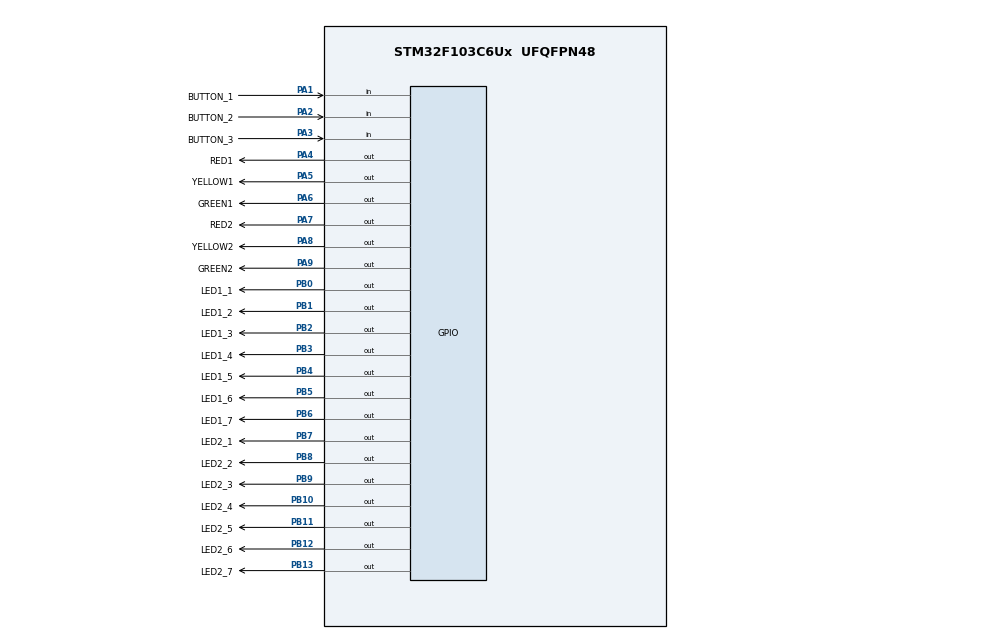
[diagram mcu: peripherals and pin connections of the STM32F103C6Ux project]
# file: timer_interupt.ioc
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Mcu.Family=STM32F1
Mcu.Name=STM32F103C6Ux
Mcu.Package=UFQFPN48
NVIC.PriorityGroup=NVIC_PRIORITYGROUP_4
NVIC.TIM2_IRQn=true\:0\:0\:false\:false\:true\:true\:true
PA1.GPIO_Label=BUTTON_1
PA1.GPIO_PuPd=GPIO_PULLUP
PA1.Signal=GPIO_Input
PA2.GPIO_Label=BUTTON_2
PA2.GPIO_PuPd=GPIO_PULLUP
PA2.Signal=GPIO_Input
PA3.GPIO_Label=BUTTON_3
PA3.GPIO_PuPd=GPIO_PULLUP
PA3.Signal=GPIO_Input
PA4.GPIO_Label=RED1
PA4.Signal=GPIO_Output
PA5.GPIO_Label=YELLOW1
PA5.Signal=GPIO_Output
PA6.GPIO_Label=GREEN1
PA6.Signal=GPIO_Output
PA7.GPIO_Label=RED2
PA7.Signal=GPIO_Output
PA8.GPIO_Label=YELLOW2
PA8.Signal=GPIO_Output
PA9.GPIO_Label=GREEN2
PA9.Signal=GPIO_Output
PB0.GPIO_Label=LED1_1
PB0.Signal=GPIO_Output
PB1.GPIO_Label=LED1_2
PB1.Signal=GPIO_Output
PB10.GPIO_Label=LED2_4
PB10.Signal=GPIO_Output
PB11.GPIO_Label=LED2_5
PB11.Signal=GPIO_Output
PB12.GPIO_Label=LED2_6
PB12.Signal=GPIO_Output
PB13.GPIO_Label=LED2_7
PB13.Signal=GPIO_Output
PB2.GPIO_Label=LED1_3
PB2.Signal=GPIO_Output
PB3.GPIO_Label=LED1_4
PB3.Signal=GPIO_Output
PB4.GPIO_Label=LED1_5
PB4.Signal=GPIO_Output
PB5.GPIO_Label=LED1_6
PB5.Signal=GPIO_Output
PB6.GPIO_Label=LED1_7
PB6.Signal=GPIO_Output
PB7.GPIO_Label=LED2_1
PB7.Signal=GPIO_Output
PB8.GPIO_Label=LED2_2
PB8.Signal=GPIO_Output
PB9.GPIO_Label=LED2_3
PB9.Signal=GPIO_Output
ProjectManager.HeapSize=0x200
ProjectManager.StackSize=0x400
ProjectManager.TargetToolchain=STM32CubeIDE
RCC.APB1Freq_Value=8000000
RCC.APB2Freq_Value=8000000
TIM2.Period=9
TIM2.Prescaler=7999
VP_SYS_VS_ND.Mode=No_Debug
VP_TIM2_VS_ClockSourceINT.Mode=Internal
board=custom

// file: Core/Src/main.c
/* USER CODE BEGIN Header */
/**
  ******************************************************************************
  * @file           : main.c
  * @brief          : Main program body
  ******************************************************************************
  * @attention
  *
  * <h2><center>&copy; Copyright (c) 2022 STMicroelectronics.
  * All rights reserved.</center></h2>
  *
  * This software component is licensed by ST under BSD 3-Clause license,
  * the "License"; You may not use this file except in compliance with the
  * License. You may obtain a copy of the License at:
  *                        opensource.org/licenses/BSD-3-Clause
  *
  ******************************************************************************
  */
/* USER CODE END Header */
#include "main.h"

/* USER CODE BEGIN Includes */
#include "global.h"
#include "fsm_automatic.h"
#include "fsm_automatic_2.h"
#include "fsm_manual.h"
/* USER CODE END Includes */

TIM_HandleTypeDef htim2;

void SystemClock_Config(void);
static void MX_TIM2_Init(void);
static void MX_GPIO_Init(void);

int main(void)
{

  /* MCU Configuration--------------------------------------------------------*/

  /* Reset of all peripherals, Initializes the Flash interface and the Systick. */
  HAL_Init();

  /* Configure the system clock */
  SystemClock_Config();

  /* Initialize all configured peripherals */
  MX_TIM2_Init();
  MX_GPIO_Init();
  /* USER CODE BEGIN 2 */
	  HAL_TIM_Base_Start_IT(&htim2);
  /* USER CODE END 2 */

  /* Infinite loop */
  /* USER CODE BEGIN WHILE */

	  status_1 = INIT;
	  status_2 = INIT;

	  clearAllLights(0);
	  clearAllLights(1);

	  clearAllLights(0);
	  clearAllLights(1);

	  setTimer3(100);
	  setTimer4(LED_BLINK*100 );
	  while (1)
	  {
    /* USER CODE END WHILE */

    /* USER CODE BEGIN 3 */

		  fsm_automatic_run();

		  fsm_automatic_run_2();

		  fsm_manual_run();
	//	  calTime();
	  }
  /* USER CODE END 3 */
}

void SystemClock_Config(void)
{
  RCC_OscInitTypeDef RCC_OscInitStruct = {0};
  RCC_ClkInitTypeDef RCC_ClkInitStruct = {0};

  /** Initializes the RCC Oscillators according to the specified parameters
  * in the RCC_OscInitTypeDef structure.
  */
  RCC_OscInitStruct.OscillatorType = RCC_OSCILLATORTYPE_HSI;
  RCC_OscInitStruct.HSIState = RCC_HSI_ON;
  RCC_OscInitStruct.HSICalibrationValue = RCC_HSICALIBRATION_DEFAULT;
  RCC_OscInitStruct.PLL.PLLState = RCC_PLL_NONE;
  if (HAL_RCC_OscConfig(&RCC_OscInitStruct) != HAL_OK)
  {
    Error_Handler();
  }
  /** Initializes the CPU, AHB and APB buses clocks
  */
  RCC_ClkInitStruct.ClockType = RCC_CLOCKTYPE_HCLK|RCC_CLOCKTYPE_SYSCLK
                              |RCC_CLOCKTYPE_PCLK1|RCC_CLOCKTYPE_PCLK2;
  RCC_ClkInitStruct.SYSCLKSource = RCC_SYSCLKSOURCE_HSI;
  RCC_ClkInitStruct.AHBCLKDivider = RCC_SYSCLK_DIV1;
  RCC_ClkInitStruct.APB1CLKDivider = RCC_HCLK_DIV1;
  RCC_ClkInitStruct.APB2CLKDivider = RCC_HCLK_DIV1;

  if (HAL_RCC_ClockConfig(&RCC_ClkInitStruct, FLASH_LATENCY_0) != HAL_OK)
  {
    Error_Handler();
  }
}

static void MX_TIM2_Init(void)
{

  TIM_ClockConfigTypeDef sClockSourceConfig = {0};
  TIM_MasterConfigTypeDef sMasterConfig = {0};

  htim2.Instance = TIM2;
  htim2.Init.Prescaler = 7999;
  htim2.Init.CounterMode = TIM_COUNTERMODE_UP;
  htim2.Init.Period = 9;
  htim2.Init.ClockDivision = TIM_CLOCKDIVISION_DIV1;
  htim2.Init.AutoReloadPreload = TIM_AUTORELOAD_PRELOAD_DISABLE;
  if (HAL_TIM_Base_Init(&htim2) != HAL_OK)
  {
    Error_Handler();
  }
  sClockSourceConfig.ClockSource = TIM_CLOCKSOURCE_INTERNAL;
  if (HAL_TIM_ConfigClockSource(&htim2, &sClockSourceConfig) != HAL_OK)
  {
    Error_Handler();
  }
  sMasterConfig.MasterOutputTrigger = TIM_TRGO_RESET;
  sMasterConfig.MasterSlaveMode = TIM_MASTERSLAVEMODE_DISABLE;
  if (HAL_TIMEx_MasterConfigSynchronization(&htim2, &sMasterConfig) != HAL_OK)
  {
    Error_Handler();
  }

}

static void MX_GPIO_Init(void)
{
  GPIO_InitTypeDef GPIO_InitStruct = {0};

  /* GPIO Ports Clock Enable */
  __HAL_RCC_GPIOA_CLK_ENABLE();
  __HAL_RCC_GPIOB_CLK_ENABLE();

  /*Configure GPIO pin Output Level */
  HAL_GPIO_WritePin(GPIOA, RED1_Pin|YELLOW1_Pin|GREEN1_Pin|RED2_Pin
                          |YELLOW2_Pin|GREEN2_Pin, GPIO_PIN_RESET);

  /*Configure GPIO pin Output Level */
  HAL_GPIO_WritePin(GPIOB, LED1_1_Pin|LED1_2_Pin|LED1_3_Pin|LED2_4_Pin
                          |LED2_5_Pin|LED2_6_Pin|LED2_7_Pin|LED1_4_Pin
                          |LED1_5_Pin|LED1_6_Pin|LED1_7_Pin|LED2_1_Pin
                          |LED2_2_Pin|LED2_3_Pin, GPIO_PIN_RESET);

  /*Configure GPIO pins : BUTTON_1_Pin BUTTON_2_Pin BUTTON_3_Pin */
  GPIO_InitStruct.Pin = BUTTON_1_Pin|BUTTON_2_Pin|BUTTON_3_Pin;
  GPIO_InitStruct.Mode = GPIO_MODE_INPUT;
  GPIO_InitStruct.Pull = GPIO_PULLUP;
  HAL_GPIO_Init(GPIOA, &GPIO_InitStruct);

  /*Configure GPIO pins : RED1_Pin YELLOW1_Pin GREEN1_Pin RED2_Pin
                           YELLOW2_Pin GREEN2_Pin */
  GPIO_InitStruct.Pin = RED1_Pin|YELLOW1_Pin|GREEN1_Pin|RED2_Pin
                          |YELLOW2_Pin|GREEN2_Pin;
  GPIO_InitStruct.Mode = GPIO_MODE_OUTPUT_PP;
  GPIO_InitStruct.Pull = GPIO_NOPULL;
  GPIO_InitStruct.Speed = GPIO_SPEED_FREQ_LOW;
  HAL_GPIO_Init(GPIOA, &GPIO_InitStruct);

  /*Configure GPIO pins : LED1_1_Pin LED1_2_Pin LED1_3_Pin LED2_4_Pin
                           LED2_5_Pin LED2_6_Pin LED2_7_Pin LED1_4_Pin
                           LED1_5_Pin LED1_6_Pin LED1_7_Pin LED2_1_Pin
                           LED2_2_Pin LED2_3_Pin */
  GPIO_InitStruct.Pin = LED1_1_Pin|LED1_2_Pin|LED1_3_Pin|LED2_4_Pin
                          |LED2_5_Pin|LED2_6_Pin|LED2_7_Pin|LED1_4_Pin
                          |LED1_5_Pin|LED1_6_Pin|LED1_7_Pin|LED2_1_Pin
                          |LED2_2_Pin|LED2_3_Pin;
  GPIO_InitStruct.Mode = GPIO_MODE_OUTPUT_PP;
  GPIO_InitStruct.Pull = GPIO_NOPULL;
  GPIO_InitStruct.Speed = GPIO_SPEED_FREQ_LOW;
  HAL_GPIO_Init(GPIOB, &GPIO_InitStruct);

}

/* USER CODE BEGIN 4 */
void HAL_TIM_PeriodElapsedCallback ( TIM_HandleTypeDef * htim )
{
	getKeyInput();
		TimeRun();
}

/* USER CODE END 4 */

void Error_Handler(void)
{
  __disable_irq();
  while (1)
  {
  }
}

/************************ (C) COPYRIGHT STMicroelectronics *****END OF FILE****/
